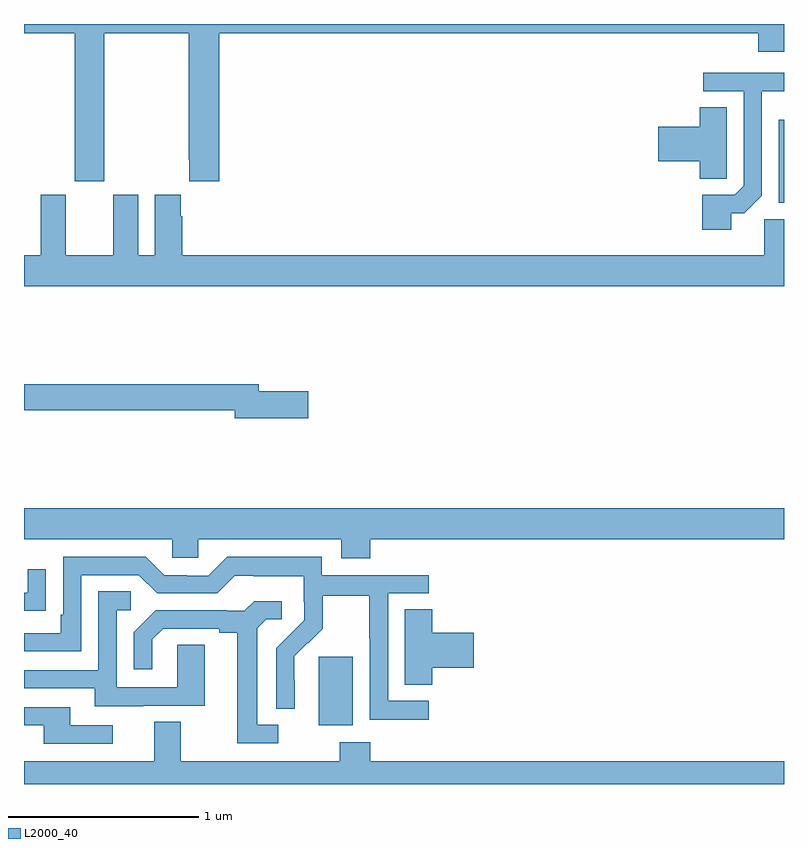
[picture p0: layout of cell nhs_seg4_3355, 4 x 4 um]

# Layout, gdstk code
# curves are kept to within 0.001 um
import gdstk
lib = gdstk.Library(unit=1e-6, precision=1e-09)
def R(c, l, rs):  # rectangles x0, y0, x1, y1
    for r in rs: c.add(gdstk.rectangle(r[:2], r[2:], *l))
def P(c, l, *ps):  # polygons
    for p in ps: c.add(gdstk.Polygon(p, *l))
L2000_40 = (2000, 40)

nhs_seg4_3355 = lib.new_cell('nhs_seg4_3355')
R(nhs_seg4_3355, L2000_40, [(290.552,761.21,290.731,761.571), (292.973,763.958,293,764.395)])
P(nhs_seg4_3355, L2000_40, [(289,764.852),(289.267,764.852),(289.267,764.073),(289.422,764.073),(289.422,764.852),(289.867,764.852),(289.867,764.185),(289.871,764.185),(289.871,764.073),(290.027,764.073),(290.027,764.852),(292.865,764.852),(292.865,764.753),(293,764.753),(293,764.9),(289,764.9)],
  [(292.723,763.903),(292.791,763.903),(292.884,763.995),(292.884,764.546),(293,764.546),(293,764.643),(292.575,764.643),(292.575,764.547),(292.788,764.547),(292.788,764.049),(292.74,764.001),(292.571,764.001),(292.571,763.818),(292.723,763.818)],
  [(292.698,764.194),(292.699,764.194),(292.699,764.462),(292.556,764.462),(292.556,764.36),(292.338,764.36),(292.338,764.177),(292.556,764.177),(292.556,764.086),(292.698,764.086)],
  [(293,763.873),(292.896,763.873),(292.896,763.684),(289.832,763.684),(289.832,763.889),(289.825,763.889),(289.825,764.002),(289.688,764.002),(289.688,763.684),(289.6,763.684),(289.6,764.002),(289.469,764.002),(289.469,763.684),(289.219,763.684),(289.219,764.002),(289.088,764.002),(289.088,763.684),(289,763.684),(289,763.52),(293,763.52)],
  [(290.497,762.968),(290.236,762.968),(290.236,763.004),(289,763.004),(289,762.868),(290.108,762.868),(290.108,762.826),(290.497,762.826)],
  [(290.822,762.188),(293,762.188),(293,762.352),(289,762.352),(289,762.188),(289.779,762.188),(289.779,762.09),(289.917,762.09),(289.917,762.188),(290.669,762.188),(290.669,762.089),(290.822,762.089)],
  [(291.13,761.337),(290.916,761.337),(290.916,761.904),(291.13,761.904),(291.13,762),(290.568,762),(290.568,762.097),(290.071,762.097),(289.971,761.997),(289.856,761.997),(289.856,762),(289.737,762),(289.641,762.096),(289.206,762.096),(289.206,761.791),(289.193,761.791),(289.193,761.694),(289,761.694),(289,761.598),(289.302,761.598),(289.302,762),(289.605,762),(289.701,761.904),(290.016,761.904),(290.109,761.997),(290.209,761.997),(290.209,761.993),(290.472,761.993),(290.472,761.859),(290.474,761.859),(290.474,761.762),(290.328,761.614),(290.328,761.296),(290.424,761.296),(290.423,761.573),(290.493,761.643),(290.496,761.64),(290.573,761.717),(290.573,761.892),(290.818,761.892),(290.818,761.668),(290.82,761.668),(290.82,761.239),(291.13,761.239)],
  [(289.013,761.812),(289.115,761.812),(289.115,762.031),(289.019,762.031),(289.019,761.907),(289,761.907),(289,761.811),(289.013,761.811)],
  [(289.627,761.313),(289.951,761.313),(289.951,761.633),(289.806,761.633),(289.806,761.409),(289.488,761.409),(289.488,761.814),(289.561,761.814),(289.561,761.915),(289.392,761.915),(289.392,761.499),(289,761.499),(289,761.403),(289.373,761.403),(289.373,761.309),(289.627,761.309)],
  [(290.338,761.211),(290.227,761.211),(290.227,761.719),(290.274,761.766),(290.356,761.766),(290.356,761.863),(290.212,761.863),(290.16,761.811),(290.066,761.811),(290.066,761.814),(289.694,761.814),(289.578,761.698),(289.578,761.505),(289.675,761.505),(289.675,761.661),(289.732,761.718),(290.027,761.718),(290.027,761.696),(290.123,761.696),(290.123,761.115),(290.338,761.115)],
  [(291.149,761.513),(291.367,761.513),(291.367,761.696),(291.149,761.696),(291.149,761.819),(291.005,761.819),(291.005,761.422),(291.149,761.422)],
  [(289.468,761.208),(289.243,761.208),(289.243,761.304),(289,761.304),(289,761.208),(289.103,761.208),(289.103,761.112),(289.468,761.112)],
  [(293,761.02),(290.822,761.02),(290.822,761.119),(290.662,761.119),(290.662,761.02),(289.825,761.02),(289.825,761.228),(289.685,761.228),(289.685,761.02),(289,761.02),(289,760.9),(293,760.9)])

lib.write_gds('nhs_seg4_3355.gds')
